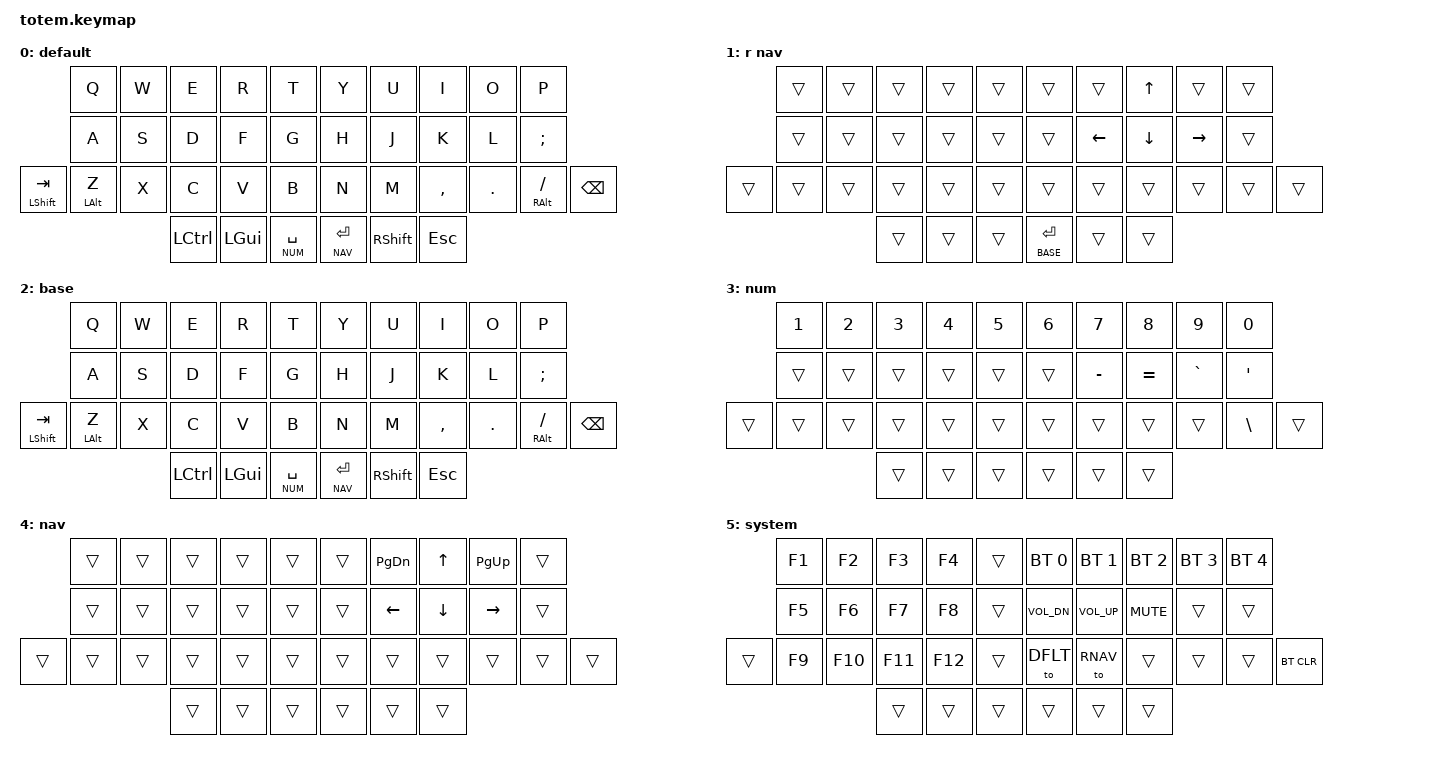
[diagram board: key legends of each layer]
#include <behaviors.dtsi>
#include <dt-bindings/zmk/keys.h>
#include <dt-bindings/zmk/bt.h>



// higher number layers take precedence / override below
#define DFLT 0

// task specific layers
#define RNAV 1

// base layers which should always be accessible (i.e. num, nav, sys)
#define BASE 2 // same as DFLT except for thumbs, used to override DFLT keys onto custom layers
#define NUM  3 // numbers layer - numbers, symbols, function keys
#define NAV  4 // navigation layer - arrow keys, media controls
#define SYS  5 // system layer - toggle layer, bt controls

&mt {
  quick-tap-ms = <100>;
  global-quick-tap;
  flavor = "tap-preferred";
  tapping-term-ms = <200>;
};

/ {
    conditional_layers {
        compatible = "zmk,conditional-layers";

        // num + nav = sys
        num_nav_sys_layer {
            if-layers = <NUM NAV>;
            then-layer = <SYS>;
        };

        // num + base = sys
        num_base_sys_layer {
            if-layers = <NUM BASE>;
            then-layer = <SYS>;
        };

    };

    behaviors {

        // double-tap LSHIFT to turn on CAPS WORD
        td_shft_caps: td_shft_caps {
            compatible = "zmk,behavior-tap-dance";
            label = "SHFT CAPS";
            #binding-cells = <0>;
            tapping-term-ms = <175>;
            bindings = <&kp LSHFT>, <&caps_word>;
        };

        // double-tap ` esc
        td_gre_esc: td_gre_esc {
            compatible = "zmk,behavior-tap-dance";
            label = "GRAVE ESC";
            #binding-cells = <0>;
            tapping-term-ms = <175>;
            bindings = <&kp GRAVE>, <&kp ESC>;
        };

    };

    combos {
            compatible = "zmk,combos";
            
        // qw = ESC
        esc {
            timeout-ms = <50>;
            key-positions = <0 1>;
            bindings = <&kp ESC>;
        };

        // qe = ALT+F4
        altf4 {
            timeout-ms = <50>;
            key-positions = <0 2>;
            bindings = <&kp LA(F4)>;
        };

        // ;bkps = DEL
        del {
            timeout-ms = <50>;
            key-positions = <19 31>;
            bindings = <&kp DEL>;
        };

        // io = (
        lpar {
            timeout-ms = <50>;
            key-positions = <7 8>;
            bindings = <&kp LPAR>;
        };
        // op = )
        rpar {
            timeout-ms = <50>;
            key-positions = <8 9>;
            bindings = <&kp RPAR>;
        };

        // kl = [
        lbkt {
            timeout-ms = <50>;
            key-positions = <17 18>;
            bindings = <&kp LBKT>;
        };
        // l; = ]
        rbkt {
            timeout-ms = <50>;
            key-positions = <18 19>;
            bindings = <&kp RBKT>;
        };

        // ,. = {
        lbrc {
            timeout-ms = <50>;
            key-positions = <28 29>;
            bindings = <&kp LBRC>;
        };
        // ./ = }
        rbrc {
            timeout-ms = <50>;
            key-positions = <29 30>;
            bindings = <&kp RBRC>;
        };

    };



        keymap {
                compatible = "zmk,keymap";


        // default layer

                dflt {
// ┏━━━━━━━━━━━━━━━━━━━━━━━━━━━━━━━━━━━━━━━┓
label= "default"                              ;
// ┗━━━━━━━━━━━━━━━━━━━━━━━━━━━━━━━━━━━━━━━┛
//               ┏━━━━━━━━━━━━━┳━━━━━━━━━━━━━┳━━━━━━━━━━━━━┳━━━━━━━━━━━━━┳━━━━━━━━━━━━━┓   ┏━━━━━━━━━━━━━┳━━━━━━━━━━━━━┳━━━━━━━━━━━━━┳━━━━━━━━━━━━━┳━━━━━━━━━━━━━┓
//               ┃       Q     ┃       W     ┃       E     ┃       R     ┃       T     ┃   ┃       Y     ┃       U     ┃       I     ┃       O     ┃       P     ┃
//               ┣━━━━━━━━━━━━━╋━━━━━━━━━━━━━╋━━━━━━━━━━━━━╋━━━━━━━━━━━━━╋━━━━━━━━━━━━━┫   ┣━━━━━━━━━━━━━╋━━━━━━━━━━━━━╋━━━━━━━━━━━━━╋━━━━━━━━━━━━━╋━━━━━━━━━━━━━┫
//               ┃       A     ┃       S     ┃       D     ┃       F     ┃       G     ┃   ┃       H     ┃       J     ┃       K     ┃       L     ┃       ;:    ┃
// ┏━━━━━━━━━━━━━╋━━━━━━━━━━━━━╋━━━━━━━━━━━━━╋━━━━━━━━━━━━━╋━━━━━━━━━━━━━╋━━━━━━━━━━━━━┫   ┣━━━━━━━━━━━━━╋━━━━━━━━━━━━━╋━━━━━━━━━━━━━╋━━━━━━━━━━━━━╋━━━━━━━━━━━━━╋━━━━━━━━━━━━━┓
// ┃  TAB / SHFT ┃   Z / ALT   ┃       X     ┃       C     ┃       V     ┃       B     ┃   ┃       N     ┃       M     ┃       ,<    ┃       .>    ┃    / ALT    ┃      BSPC   ┃
// ┗━━━━━━━━━━━━━┻━━━━━━━━━━━━━┻━━━━━━━━━━━━━╋━━━━━━━━━━━━━╋━━━━━━━━━━━━━╋━━━━━━━━━━━━━┫   ┣━━━━━━━━━━━━━╋━━━━━━━━━━━━━╋━━━━━━━━━━━━━╋━━━━━━━━━━━━━┻━━━━━━━━━━━━━┻━━━━━━━━━━━━━┛
//                                           ┃     LCTRL   ┃     LGUI    ┃   SPC / NUM ┃   ┃  RET / NAV  ┃     SHFT    ┃      ESC    ┃
//                                           ┗━━━━━━━━━━━━━┻━━━━━━━━━━━━━┻━━━━━━━━━━━━━┛   ┗━━━━━━━━━━━━━┻━━━━━━━━━━━━━┻━━━━━━━━━━━━━┛
 bindings = <
// ╷             ╷             ╷             ╷             ╷             ╷             ╷   ╷             ╷             ╷             ╷             ╷             ╷             ╷

                  &kp Q         &kp W         &kp E         &kp R         &kp T             &kp Y         &kp U         &kp I         &kp O         &kp P
                  &kp A         &kp S         &kp D         &kp F         &kp G             &kp H         &kp J         &kp K         &kp L         &kp SEMI
    &mt LSHFT TAB &mt LALT Z    &kp X         &kp C         &kp V         &kp B             &kp N         &kp M         &kp COMMA     &kp DOT       &mt RALT FSLH &kp BSPC
                                              &kp LCTRL     &kp LGUI      &lt NUM SPACE     &lt NAV RET   &kp RSHFT     &kp ESC
                        >;
                };


        // custom layer

                rnav {
// ┏━━━━━━━━━━━━━━━━━━━━━━━━━━━━━━━━━━━━━━━┓
label= "r nav"                              ;
// ┗━━━━━━━━━━━━━━━━━━━━━━━━━━━━━━━━━━━━━━━┛
//               ┏━━━━━━━━━━━━━┳━━━━━━━━━━━━━┳━━━━━━━━━━━━━┳━━━━━━━━━━━━━┳━━━━━━━━━━━━━┓   ┏━━━━━━━━━━━━━┳━━━━━━━━━━━━━┳━━━━━━━━━━━━━┳━━━━━━━━━━━━━┳━━━━━━━━━━━━━┓
//               ┃             ┃             ┃             ┃             ┃             ┃   ┃             ┃             ┃      UP     ┃             ┃             ┃
//               ┣━━━━━━━━━━━━━╋━━━━━━━━━━━━━╋━━━━━━━━━━━━━╋━━━━━━━━━━━━━╋━━━━━━━━━━━━━┫   ┣━━━━━━━━━━━━━╋━━━━━━━━━━━━━╋━━━━━━━━━━━━━╋━━━━━━━━━━━━━╋━━━━━━━━━━━━━┫
//               ┃             ┃             ┃             ┃             ┃             ┃   ┃             ┃      LEFT   ┃     DOWN    ┃    RIGHT    ┃             ┃
// ┏━━━━━━━━━━━━━╋━━━━━━━━━━━━━╋━━━━━━━━━━━━━╋━━━━━━━━━━━━━╋━━━━━━━━━━━━━╋━━━━━━━━━━━━━┫   ┣━━━━━━━━━━━━━╋━━━━━━━━━━━━━╋━━━━━━━━━━━━━╋━━━━━━━━━━━━━╋━━━━━━━━━━━━━╋━━━━━━━━━━━━━┓
// ┃             ┃             ┃             ┃             ┃             ┃             ┃   ┃             ┃             ┃             ┃             ┃             ┃             ┃
// ┗━━━━━━━━━━━━━┻━━━━━━━━━━━━━┻━━━━━━━━━━━━━╋━━━━━━━━━━━━━╋━━━━━━━━━━━━━╋━━━━━━━━━━━━━┫   ┣━━━━━━━━━━━━━╋━━━━━━━━━━━━━╋━━━━━━━━━━━━━╋━━━━━━━━━━━━━┻━━━━━━━━━━━━━┻━━━━━━━━━━━━━┛
//                                           ┃             ┃             ┃             ┃   ┃  RET / BASE ┃             ┃             ┃
//                                           ┗━━━━━━━━━━━━━┻━━━━━━━━━━━━━┻━━━━━━━━━━━━━┛   ┗━━━━━━━━━━━━━┻━━━━━━━━━━━━━┻━━━━━━━━━━━━━┛
 bindings = <
// ╷             ╷             ╷             ╷             ╷             ╷             ╷   ╷             ╷             ╷             ╷             ╷             ╷             ╷


                  &trans        &trans        &trans        &trans        &trans            &trans        &trans        &kp UP        &trans        &trans
                  &trans        &trans        &trans        &trans        &trans            &trans        &kp LEFT      &kp DOWN      &kp RIGHT     &trans
    &trans        &trans        &trans        &trans        &trans        &trans            &trans        &trans        &trans        &trans        &trans        &trans
                                              &trans        &trans        &trans            &lt BASE RET  &trans        &trans
                        >;
                };


        // base layers

                base {
// ┏━━━━━━━━━━━━━━━━━━━━━━━━━━━━━━━━━━━━━━━┓
label= "base"                              ;
// ┗━━━━━━━━━━━━━━━━━━━━━━━━━━━━━━━━━━━━━━━┛
//               ┏━━━━━━━━━━━━━┳━━━━━━━━━━━━━┳━━━━━━━━━━━━━┳━━━━━━━━━━━━━┳━━━━━━━━━━━━━┓   ┏━━━━━━━━━━━━━┳━━━━━━━━━━━━━┳━━━━━━━━━━━━━┳━━━━━━━━━━━━━┳━━━━━━━━━━━━━┓
//               ┃       Q     ┃       W     ┃       E     ┃       R     ┃       T     ┃   ┃       Y     ┃       U     ┃       I     ┃       O     ┃       P     ┃
//               ┣━━━━━━━━━━━━━╋━━━━━━━━━━━━━╋━━━━━━━━━━━━━╋━━━━━━━━━━━━━╋━━━━━━━━━━━━━┫   ┣━━━━━━━━━━━━━╋━━━━━━━━━━━━━╋━━━━━━━━━━━━━╋━━━━━━━━━━━━━╋━━━━━━━━━━━━━┫
//               ┃       A     ┃       S     ┃       D     ┃       F     ┃       G     ┃   ┃       H     ┃       J     ┃       K     ┃       L     ┃       ;:    ┃
// ┏━━━━━━━━━━━━━╋━━━━━━━━━━━━━╋━━━━━━━━━━━━━╋━━━━━━━━━━━━━╋━━━━━━━━━━━━━╋━━━━━━━━━━━━━┫   ┣━━━━━━━━━━━━━╋━━━━━━━━━━━━━╋━━━━━━━━━━━━━╋━━━━━━━━━━━━━╋━━━━━━━━━━━━━╋━━━━━━━━━━━━━┓
// ┃  TAB / SHFT ┃   Z / ALT   ┃       X     ┃       C     ┃       V     ┃       B     ┃   ┃       N     ┃       M     ┃       ,<    ┃       .>    ┃    / ALT    ┃      BSPC   ┃
// ┗━━━━━━━━━━━━━┻━━━━━━━━━━━━━┻━━━━━━━━━━━━━╋━━━━━━━━━━━━━╋━━━━━━━━━━━━━╋━━━━━━━━━━━━━┫   ┣━━━━━━━━━━━━━╋━━━━━━━━━━━━━╋━━━━━━━━━━━━━╋━━━━━━━━━━━━━┻━━━━━━━━━━━━━┻━━━━━━━━━━━━━┛
//                                           ┃     LCTRL   ┃     LGUI    ┃   SPC / NUM ┃   ┃  RET / NAV  ┃     SHFT    ┃      ESC    ┃
//                                           ┗━━━━━━━━━━━━━┻━━━━━━━━━━━━━┻━━━━━━━━━━━━━┛   ┗━━━━━━━━━━━━━┻━━━━━━━━━━━━━┻━━━━━━━━━━━━━┛
 bindings = <
// ╷             ╷             ╷             ╷             ╷             ╷             ╷   ╷             ╷             ╷             ╷             ╷             ╷             ╷

                  &kp Q         &kp W         &kp E         &kp R         &kp T             &kp Y         &kp U         &kp I         &kp O         &kp P
                  &kp A         &kp S         &kp D         &kp F         &kp G             &kp H         &kp J         &kp K         &kp L         &kp SEMI
    &mt LSHFT TAB &mt LALT Z    &kp X         &kp C         &kp V         &kp B             &kp N         &kp M         &kp COMMA     &kp DOT       &mt RALT FSLH &kp BSPC
                                              &kp LCTRL     &kp LGUI      &lt NUM SPACE     &lt NAV RET   &kp RSHFT     &kp ESC
                        >;
                };

                num {
// ┏━━━━━━━━━━━━━━━━━━━━━━━━━━━━━━━━━━━━━━━┓
label= "num"                               ;
// ┗━━━━━━━━━━━━━━━━━━━━━━━━━━━━━━━━━━━━━━━┛
//               ┏━━━━━━━━━━━━━┳━━━━━━━━━━━━━┳━━━━━━━━━━━━━┳━━━━━━━━━━━━━┳━━━━━━━━━━━━━┓   ┏━━━━━━━━━━━━━┳━━━━━━━━━━━━━┳━━━━━━━━━━━━━┳━━━━━━━━━━━━━┳━━━━━━━━━━━━━┓
//               ┃       1!    ┃       2@    ┃       3#    ┃       4$    ┃       5%    ┃   ┃       6^    ┃       7&    ┃       8*    ┃       9(    ┃       0)    ┃
//               ┣━━━━━━━━━━━━━╋━━━━━━━━━━━━━╋━━━━━━━━━━━━━╋━━━━━━━━━━━━━╋━━━━━━━━━━━━━┫   ┣━━━━━━━━━━━━━╋━━━━━━━━━━━━━╋━━━━━━━━━━━━━╋━━━━━━━━━━━━━╋━━━━━━━━━━━━━┫
//               ┃             ┃             ┃             ┃             ┃             ┃   ┃             ┃       -_    ┃       =+    ┃       `~    ┃       '"    ┃
// ┏━━━━━━━━━━━━━╋━━━━━━━━━━━━━╋━━━━━━━━━━━━━╋━━━━━━━━━━━━━╋━━━━━━━━━━━━━╋━━━━━━━━━━━━━┫   ┣━━━━━━━━━━━━━╋━━━━━━━━━━━━━╋━━━━━━━━━━━━━╋━━━━━━━━━━━━━╋━━━━━━━━━━━━━╋━━━━━━━━━━━━━┓
// ┃             ┃             ┃             ┃             ┃             ┃             ┃   ┃             ┃             ┃             ┃             ┃       \|    ┃             ┃
// ┗━━━━━━━━━━━━━┻━━━━━━━━━━━━━┻━━━━━━━━━━━━━╋━━━━━━━━━━━━━╋━━━━━━━━━━━━━╋━━━━━━━━━━━━━┫   ┣━━━━━━━━━━━━━╋━━━━━━━━━━━━━╋━━━━━━━━━━━━━╋━━━━━━━━━━━━━┻━━━━━━━━━━━━━┻━━━━━━━━━━━━━┛
//                                           ┃             ┃             ┃             ┃   ┃             ┃             ┃             ┃
//                                           ┗━━━━━━━━━━━━━┻━━━━━━━━━━━━━┻━━━━━━━━━━━━━┛   ┗━━━━━━━━━━━━━┻━━━━━━━━━━━━━┻━━━━━━━━━━━━━┛
 bindings = <
// ╷             ╷             ╷             ╷             ╷             ╷             ╷   ╷             ╷             ╷             ╷             ╷             ╷             ╷

                  &kp N1        &kp N2        &kp N3        &kp N4        &kp N5            &kp N6        &kp N7        &kp N8        &kp N9        &kp N0       
                  &trans        &trans        &trans        &trans        &trans            &trans        &kp MINUS     &kp EQUAL     &kp GRAVE     &kp SQT 
    &trans        &trans        &trans        &trans        &trans        &trans            &trans        &trans        &trans        &trans        &kp BSLH       &trans         
                                              &trans        &trans        &trans            &trans        &trans        &trans      
                        >;
                };

                nav {
// ┏━━━━━━━━━━━━━━━━━━━━━━━━━━━━━━━━━━━━━━━┓
label= "nav"                               ;
// ┗━━━━━━━━━━━━━━━━━━━━━━━━━━━━━━━━━━━━━━━┛
//               ┏━━━━━━━━━━━━━┳━━━━━━━━━━━━━┳━━━━━━━━━━━━━┳━━━━━━━━━━━━━┳━━━━━━━━━━━━━┓   ┏━━━━━━━━━━━━━┳━━━━━━━━━━━━━┳━━━━━━━━━━━━━┳━━━━━━━━━━━━━┳━━━━━━━━━━━━━┓
//               ┃             ┃             ┃             ┃             ┃             ┃   ┃             ┃  P DOWN     ┃    UP       ┃   P UP      ┃             ┃
//               ┣━━━━━━━━━━━━━╋━━━━━━━━━━━━━╋━━━━━━━━━━━━━╋━━━━━━━━━━━━━╋━━━━━━━━━━━━━┫   ┣━━━━━━━━━━━━━╋━━━━━━━━━━━━━╋━━━━━━━━━━━━━╋━━━━━━━━━━━━━╋━━━━━━━━━━━━━┫
//               ┃             ┃             ┃             ┃             ┃             ┃   ┃             ┃      LEFT   ┃     DOWN    ┃     RIGHT   ┃             ┃
// ┏━━━━━━━━━━━━━╋━━━━━━━━━━━━━╋━━━━━━━━━━━━━╋━━━━━━━━━━━━━╋━━━━━━━━━━━━━╋━━━━━━━━━━━━━┫   ┣━━━━━━━━━━━━━╋━━━━━━━━━━━━━╋━━━━━━━━━━━━━╋━━━━━━━━━━━━━╋━━━━━━━━━━━━━╋━━━━━━━━━━━━━┓
// ┃             ┃             ┃             ┃             ┃             ┃             ┃   ┃             ┃             ┃             ┃             ┃             ┃             ┃
// ┗━━━━━━━━━━━━━┻━━━━━━━━━━━━━┻━━━━━━━━━━━━━╋━━━━━━━━━━━━━╋━━━━━━━━━━━━━╋━━━━━━━━━━━━━┫   ┣━━━━━━━━━━━━━╋━━━━━━━━━━━━━╋━━━━━━━━━━━━━╋━━━━━━━━━━━━━┻━━━━━━━━━━━━━┻━━━━━━━━━━━━━┛
//                                           ┃             ┃             ┃             ┃   ┃             ┃             ┃             ┃
//                                           ┗━━━━━━━━━━━━━┻━━━━━━━━━━━━━┻━━━━━━━━━━━━━┛   ┗━━━━━━━━━━━━━┻━━━━━━━━━━━━━┻━━━━━━━━━━━━━┛
 bindings = <
// ╷             ╷             ╷             ╷             ╷             ╷             ╷   ╷             ╷             ╷             ╷             ╷             ╷             ╷


                  &trans        &trans        &trans        &trans        &trans            &trans        &kp PG_DN     &kp UP       &kp PG_UP     &trans
                  &trans        &trans        &trans        &trans        &trans            &trans        &kp LEFT      &kp DOWN     &kp RIGHT     &trans
    &trans        &trans        &trans        &trans        &trans        &trans            &trans        &trans        &trans       &trans        &trans         &trans      
                                              &trans        &trans        &trans            &trans        &trans        &trans      
                        >;
                };

                sys {
// ┏━━━━━━━━━━━━━━━━━━━━━━━━━━━━━━━━━━━━━━━┓
label= "system"                               ;
// ┗━━━━━━━━━━━━━━━━━━━━━━━━━━━━━━━━━━━━━━━┛
//               ┏━━━━━━━━━━━━━┳━━━━━━━━━━━━━┳━━━━━━━━━━━━━┳━━━━━━━━━━━━━┳━━━━━━━━━━━━━┓   ┏━━━━━━━━━━━━━┳━━━━━━━━━━━━━┳━━━━━━━━━━━━━┳━━━━━━━━━━━━━┳━━━━━━━━━━━━━┓
//               ┃      F1     ┃      F2     ┃      F3     ┃      F4     ┃             ┃   ┃   BT 1      ┃   BT 2      ┃   BT 3      ┃    BT 4     ┃    BT 5     ┃
//               ┣━━━━━━━━━━━━━╋━━━━━━━━━━━━━╋━━━━━━━━━━━━━╋━━━━━━━━━━━━━╋━━━━━━━━━━━━━┫   ┣━━━━━━━━━━━━━╋━━━━━━━━━━━━━╋━━━━━━━━━━━━━╋━━━━━━━━━━━━━╋━━━━━━━━━━━━━┫
//               ┃      F5     ┃      F6     ┃      F7     ┃      F8     ┃             ┃   ┃   VOL -     ┃   VOL +     ┃   MUTE      ┃             ┃             ┃
// ┏━━━━━━━━━━━━━╋━━━━━━━━━━━━━╋━━━━━━━━━━━━━╋━━━━━━━━━━━━━╋━━━━━━━━━━━━━╋━━━━━━━━━━━━━┫   ┣━━━━━━━━━━━━━╋━━━━━━━━━━━━━╋━━━━━━━━━━━━━╋━━━━━━━━━━━━━╋━━━━━━━━━━━━━╋━━━━━━━━━━━━━┓
// ┃             ┃      F9     ┃      F10    ┃      F11    ┃      F12    ┃             ┃   ┃   DFLT      ┃   RNAV      ┃             ┃             ┃             ┃   BT CLR    ┃
// ┗━━━━━━━━━━━━━┻━━━━━━━━━━━━━┻━━━━━━━━━━━━━╋━━━━━━━━━━━━━╋━━━━━━━━━━━━━╋━━━━━━━━━━━━━┫   ┣━━━━━━━━━━━━━╋━━━━━━━━━━━━━╋━━━━━━━━━━━━━╋━━━━━━━━━━━━━┻━━━━━━━━━━━━━┻━━━━━━━━━━━━━┛
//                                           ┃             ┃             ┃             ┃   ┃             ┃             ┃             ┃
//                                           ┗━━━━━━━━━━━━━┻━━━━━━━━━━━━━┻━━━━━━━━━━━━━┛   ┗━━━━━━━━━━━━━┻━━━━━━━━━━━━━┻━━━━━━━━━━━━━┛
 bindings = <
// ╷             ╷             ╷             ╷             ╷             ╷             ╷   ╷             ╷             ╷             ╷             ╷             ╷             ╷

                  &kp F1        &kp F2        &kp F3        &kp F4        &trans            &bt BT_SEL 0  &bt BT_SEL 1  &bt BT_SEL 2  &bt BT_SEL 3  &bt BT_SEL 4
                  &kp F5        &kp F6        &kp F7        &kp F8        &trans            &kp C_VOL_DN  &kp C_VOL_UP  &kp C_MUTE    &trans        &trans  
    &trans        &kp F9        &kp F10       &kp F11       &kp F12       &trans            &to DFLT      &to RNAV      &trans        &trans        &trans        &bt BT_CLR 
                                              &trans        &trans        &trans            &trans        &trans        &trans      
                        >;
                };

        };
};
